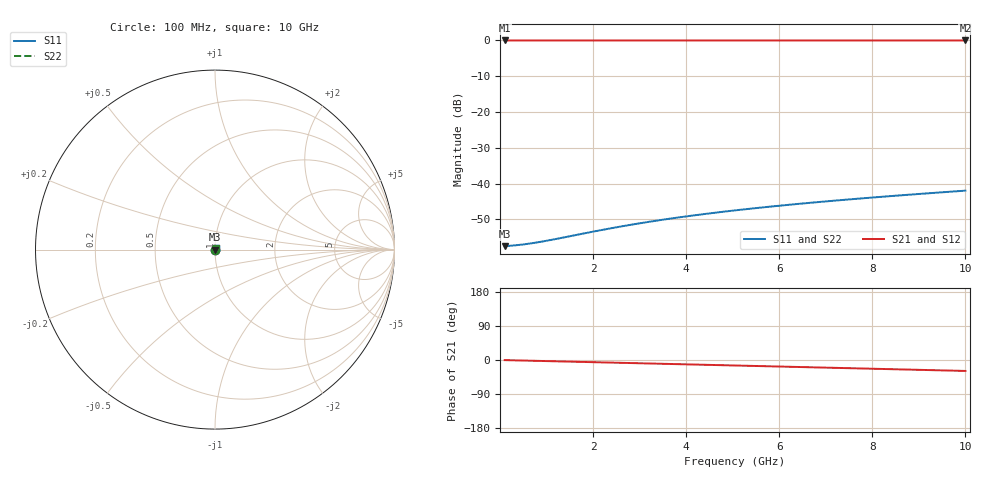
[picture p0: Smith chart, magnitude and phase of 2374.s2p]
# Hz S RI R 50.00
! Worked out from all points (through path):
!   100 points, 100 MHz to 10 GHz, reference 50 ohm
!   highest |S21| = -0.01 dB at 100 MHz (marker M1); lowest = 0.0 dB at 10 GHz (marker M2)
!   group delay of S21, straight-line fit = 8.02 ps
!   lowest |S11| = -57.5 dB at 100 MHz (marker M3), VSWR 1.00, Z = 50.1 + j0.0077 ohm
!   |S11| at or under -10 dB: start of sweep to end of sweep
!   |S22| runs from -57.5 to -42.0 dB; largest |S21 - S12| = 0
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1e8  0.00133 7.68e-05  0.9987 -0.00499  0.9987 -0.00499  0.00133 7.68e-05
3e8  0.00135 0.00023  0.9985 -0.015  0.9985 -0.015  0.00135 0.00023
4e8  0.00135 0.000307  0.9984 -0.0199  0.9984 -0.0199  0.00135 0.000307
6e8  0.00136 0.000459  0.9982 -0.0299  0.9982 -0.0299  0.00136 0.000459
8e8  0.00138 0.000611  0.9978 -0.0399  0.9978 -0.0399  0.00138 0.000611
1e9  0.00139 0.000761  0.9974 -0.0499  0.9974 -0.0499  0.00139 0.000761
1.2e9  0.00141 0.000911  0.9968 -0.0598  0.9968 -0.0598  0.00141 0.000911
1.8e9  0.00148 0.00135  0.9945 -0.0897  0.9945 -0.0897  0.00148 0.00135
2.2e9  0.00154 0.00164  0.9925 -0.1096  0.9925 -0.1096  0.00154 0.00164
2.6e9  0.00161 0.00193  0.9901 -0.1294  0.9901 -0.1294  0.00161 0.00193
3e9  0.00169 0.00221  0.9873 -0.1493  0.9873 -0.1493  0.00169 0.00221
3.4e9  0.00179 0.00248  0.9841 -0.169  0.9841 -0.169  0.00179 0.00248
3.8e9  0.00189 0.00275  0.9805 -0.1887  0.9805 -0.1887  0.00189 0.00275
4.2e9  0.00201 0.00301  0.9765 -0.2084  0.9765 -0.2084  0.00201 0.00301
4.6e9  0.00213 0.00326  0.9721 -0.228  0.9721 -0.228  0.00213 0.00326
5.1e9  0.0023 0.00358  0.966 -0.2524  0.966 -0.2524  0.0023 0.00358
5.9e9  0.00261 0.00406  0.955 -0.2911  0.955 -0.2911  0.00261 0.00406
6.7e9  0.00296 0.00453  0.9424 -0.3295  0.9424 -0.3295  0.00296 0.00453
7.5e9  0.00336 0.00497  0.9283 -0.3673  0.9283 -0.3673  0.00336 0.00497
8.4e9  0.00385 0.00546  0.9105 -0.4093  0.9105 -0.4093  0.00385 0.00546
9.2e9  0.00435 0.00588  0.8931 -0.446  0.8931 -0.446  0.00435 0.00588
1e10  0.00489 0.00628  0.8741 -0.482  0.8741 -0.482  0.00489 0.00628
